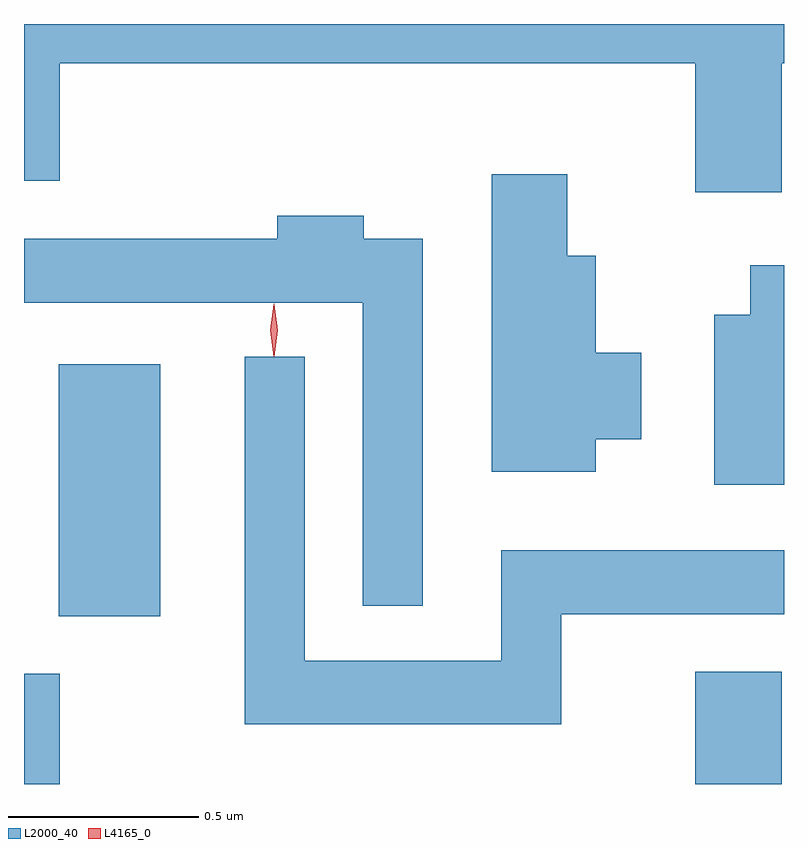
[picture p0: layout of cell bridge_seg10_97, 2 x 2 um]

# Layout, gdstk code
import gdstk
lib = gdstk.Library(unit=1e-6, precision=1e-09)
def R(c, l, rs):  # rectangles x0, y0, x1, y1
    for r in rs: c.add(gdstk.rectangle(r[:2], r[2:], *l))
def P(c, l, *ps):  # polygons
    for p in ps: c.add(gdstk.Polygon(p, *l))
L2000_40 = (2000, 40)
L4165_0 = (4165, 0)

bridge_seg10_97 = lib.new_cell('bridge_seg10_97')
R(bridge_seg10_97, L2000_40, [(1585.285,2207.479,1585.379,2207.769), (1587.051,2207.479,1587.279,2207.774), (1585.376,2207.921,1585.644,2208.584)])
P(bridge_seg10_97, L2000_40, [(1587.279,2209.376),(1587.285,2209.376),(1587.285,2209.479),(1585.285,2209.479),(1585.285,2209.066),(1585.379,2209.066),(1585.379,2209.376),(1587.051,2209.376),(1587.051,2209.036),(1587.279,2209.036)],
  [(1586.789,2208.386),(1586.909,2208.386),(1586.909,2208.614),(1586.789,2208.614),(1586.789,2208.869),(1586.714,2208.869),(1586.714,2209.084),(1586.516,2209.084),(1586.516,2208.301),(1586.789,2208.301)],
  [(1586.334,2208.914),(1586.179,2208.914),(1586.179,2208.974),(1585.951,2208.974),(1585.951,2208.914),(1585.285,2208.914),(1585.285,2208.746),(1586.176,2208.746),(1586.176,2207.948),(1586.334,2207.948)],
  [(1587.285,2208.844),(1587.196,2208.844),(1587.196,2208.714),(1587.101,2208.714),(1587.101,2208.266),(1587.285,2208.266)],
  [(1586.699,2207.926),(1587.285,2207.926),(1587.285,2208.094),(1586.541,2208.094),(1586.541,2207.804),(1586.024,2207.804),(1586.024,2208.603),(1585.866,2208.603),(1585.866,2207.636),(1586.699,2207.636)])
P(bridge_seg10_97, L4165_0, [(1585.942,2208.604),(1585.933,2208.673),(1585.942,2208.742),(1585.943,2208.743),(1585.944,2208.742),(1585.953,2208.673),(1585.944,2208.604),(1585.943,2208.604)])

lib.write_gds('bridge_seg10_97.gds')
